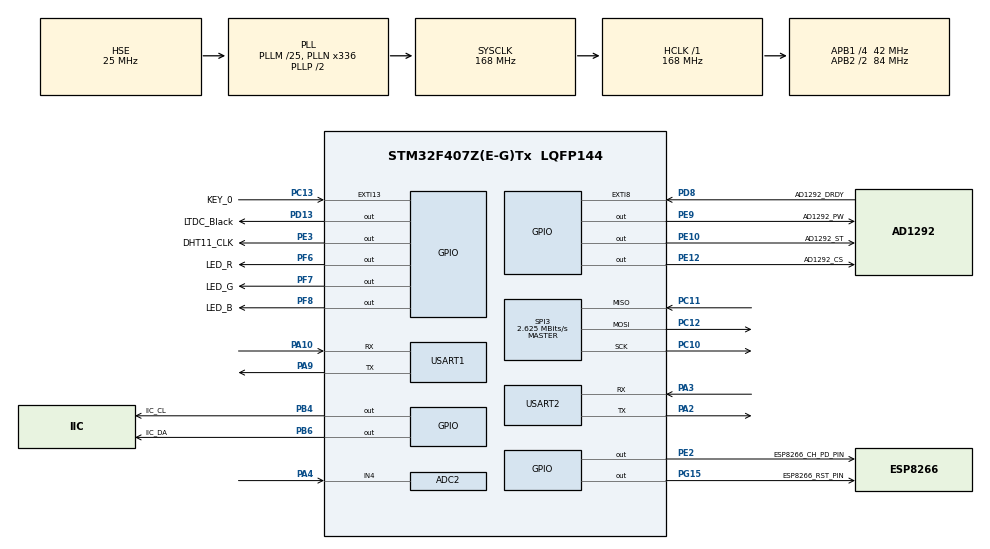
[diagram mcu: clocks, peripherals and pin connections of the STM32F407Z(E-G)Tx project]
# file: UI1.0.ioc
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ADC2.Channel-0\#ChannelRegularConversion=ADC_CHANNEL_4
ADC2.Rank-0\#ChannelRegularConversion=1
Mcu.Family=STM32F4
Mcu.Name=STM32F407Z(E-G)Tx
Mcu.Package=LQFP144
NVIC.ADC_IRQn=true\:0\:0\:false\:false\:true\:true\:true\:true
NVIC.EXTI15_10_IRQn=true\:0\:0\:false\:false\:true\:true\:true\:true
NVIC.EXTI9_5_IRQn=true\:0\:0\:false\:false\:true\:true\:true\:true
NVIC.PriorityGroup=NVIC_PRIORITYGROUP_4
NVIC.TIM2_IRQn=true\:0\:0\:false\:false\:true\:true\:true\:true
NVIC.TIM3_IRQn=true\:0\:0\:false\:false\:true\:true\:true\:true
NVIC.USART1_IRQn=true\:0\:0\:false\:false\:true\:true\:true\:true
NVIC.USART2_IRQn=true\:0\:0\:false\:false\:true\:true\:true\:true
PA10.Mode=Asynchronous
PA10.Signal=USART1_RX
PA13.Mode=Serial_Wire
PA13.Signal=SYS_JTMS-SWDIO
PA14.Mode=Serial_Wire
PA14.Signal=SYS_JTCK-SWCLK
PA2.Mode=Asynchronous
PA2.Signal=USART2_TX
PA3.Mode=Asynchronous
PA3.Signal=USART2_RX
PA4.Signal=ADCx_IN4
PA9.Mode=Asynchronous
PA9.Signal=USART1_TX
PB4.GPIO_Label=IIC_CL
PB4.GPIO_PuPd=GPIO_PULLUP
PB4.GPIO_Speed=GPIO_SPEED_FREQ_VERY_HIGH
PB4.PinState=GPIO_PIN_SET
PB4.Signal=GPIO_Output
PB6.GPIO_Label=IIC_DA
PB6.GPIO_PuPd=GPIO_PULLUP
PB6.GPIO_Speed=GPIO_SPEED_FREQ_VERY_HIGH
PB6.PinState=GPIO_PIN_SET
PB6.Signal=GPIO_Output
PC10.GPIO_PuPd=GPIO_PULLUP
PC10.GPIO_Speed=GPIO_SPEED_FREQ_HIGH
PC10.Mode=Full_Duplex_Master
PC10.Signal=SPI3_SCK
PC11.GPIO_PuPd=GPIO_PULLUP
PC11.GPIO_Speed=GPIO_SPEED_FREQ_HIGH
PC11.Mode=Full_Duplex_Master
PC11.Signal=SPI3_MISO
PC12.GPIO_PuPd=GPIO_PULLUP
PC12.GPIO_Speed=GPIO_SPEED_FREQ_HIGH
PC12.Mode=Full_Duplex_Master
PC12.Signal=SPI3_MOSI
PC13-ANTI_TAMP.GPIO_Label=KEY_0
PC13-ANTI_TAMP.GPIO_PuPd=GPIO_PULLUP
PC13-ANTI_TAMP.Signal=GPXTI13
PD13.GPIO_Label=LTDC_Black
PD13.GPIO_PuPd=GPIO_PULLUP
PD13.Signal=GPIO_Output
PD8.GPIO_Label=AD1292_DRDY
PD8.GPIO_PuPd=GPIO_PULLUP
PD8.Signal=GPXTI8
PE10.GPIO_Label=AD1292_ST
PE10.GPIO_PuPd=GPIO_PULLUP
PE10.GPIO_Speed=GPIO_SPEED_FREQ_HIGH
PE10.Signal=GPIO_Output
PE12.GPIO_Label=AD1292_CS
PE12.GPIO_PuPd=GPIO_PULLUP
PE12.GPIO_Speed=GPIO_SPEED_FREQ_HIGH
PE12.PinState=GPIO_PIN_SET
PE12.Signal=GPIO_Output
PE2.GPIO_Label=ESP8266_CH_PD_PIN
PE2.Signal=GPIO_Output
PE3.GPIO_Label=DHT11_CLK
PE3.GPIO_PuPd=GPIO_PULLUP
PE3.GPIO_Speed=GPIO_SPEED_FREQ_HIGH
PE3.PinState=GPIO_PIN_SET
PE3.Signal=GPIO_Output
PE9.GPIO_Label=AD1292_PW
PE9.GPIO_PuPd=GPIO_PULLUP
PE9.GPIO_Speed=GPIO_SPEED_FREQ_HIGH
PE9.PinState=GPIO_PIN_SET
PE9.Signal=GPIO_Output
PF6.GPIO_Label=LED_R
PF6.GPIO_PuPd=GPIO_PULLUP
PF6.PinState=GPIO_PIN_SET
PF6.Signal=GPIO_Output
PF7.GPIO_Label=LED_G
PF7.GPIO_PuPd=GPIO_PULLUP
PF7.PinState=GPIO_PIN_SET
PF7.Signal=GPIO_Output
PF8.GPIO_Label=LED_B
PF8.GPIO_PuPd=GPIO_PULLUP
PF8.PinState=GPIO_PIN_SET
PF8.Signal=GPIO_Output
PG15.GPIO_Label=ESP8266_RST_PIN
PG15.Signal=GPIO_Output
PH0-OSC_IN.Mode=HSE-External-Oscillator
PH0-OSC_IN.Signal=RCC_OSC_IN
PH1-OSC_OUT.Mode=HSE-External-Oscillator
PH1-OSC_OUT.Signal=RCC_OSC_OUT
ProjectManager.HeapSize=0x200
ProjectManager.StackSize=0x400
ProjectManager.TargetToolchain=MDK-ARM V5.32
RCC.48MHZClocksFreq_Value=84000000
RCC.AHBFreq_Value=168000000
RCC.APB1CLKDivider=RCC_HCLK_DIV4
RCC.APB1Freq_Value=42000000
RCC.APB1TimFreq_Value=84000000
RCC.APB2CLKDivider=RCC_HCLK_DIV2
RCC.APB2Freq_Value=84000000
RCC.APB2TimFreq_Value=168000000
RCC.CortexFreq_Value=168000000
RCC.HCLKFreq_Value=168000000
RCC.HSE_VALUE=25000000
RCC.HSI_VALUE=16000000
RCC.LSE_VALUE=32768
RCC.PLLM=25
RCC.PLLN=336
RCC.PLLSourceVirtual=RCC_PLLSOURCE_HSE
RCC.SYSCLKFreq_VALUE=168000000
RCC.SYSCLKSource=RCC_SYSCLKSOURCE_PLLCLK
RCC.VCOOutputFreq_Value=336000000
SH.ADCx_IN4.0=ADC2_IN4,IN4
SPI3.BaudRatePrescaler=SPI_BAUDRATEPRESCALER_16
SPI3.CLKPhase=SPI_PHASE_2EDGE
SPI3.CLKPolarity=SPI_POLARITY_LOW
SPI3.CalculateBaudRate=2.625 MBits/s
SPI3.Direction=SPI_DIRECTION_2LINES
SPI3.Mode=SPI_MODE_MASTER
SPI3.VirtualType=VM_MASTER
TIM2.Period=10-1
TIM2.Prescaler=9000-1
TIM3.Period=5000-1
TIM3.Prescaler=9000-1
USART1.VirtualMode=VM_ASYNC
USART2.VirtualMode=VM_ASYNC
VP_TIM2_VS_ClockSourceINT.Mode=Internal
VP_TIM3_VS_ClockSourceINT.Mode=Internal
board=custom

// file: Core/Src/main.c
/* USER CODE BEGIN Header */
/**
  ******************************************************************************
  * @file           : main.c
  * @brief          : Main program body
  ******************************************************************************
  * @attention
  *
  * Copyright (c) 2022 STMicroelectronics.
  * All rights reserved.
  *
  * This software is licensed under terms that can be found in the LICENSE file
  * in the root directory of this software component.
  * If no LICENSE file comes with this software, it is provided AS-IS.
  *
  ******************************************************************************
  */
/* USER CODE END Header */
#include "main.h"
#include "adc.h"
#include "spi.h"
#include "tim.h"
#include "usart.h"
#include "gpio.h"

/* USER CODE BEGIN Includes */
#include "callback.h"
#include "ads1292.h"
#include "bsp_dht11.h"
/* USER CODE END Includes */

void SystemClock_Config(void);

/* USER CODE BEGIN 0 */
DHT11_Data_TypeDef DHT11_Data;

/* USER CODE END 0 */

int main(void)
{
  /* USER CODE BEGIN 1 */
/*串口*/
	uint8_t len;					//串口接收数据长度
 /*ADC采集*/
  u16 adcx;
	u16 Value;
  /* USER CODE END 1 */

  /* MCU Configuration--------------------------------------------------------*/

  /* Reset of all peripherals, Initializes the Flash interface and the Systick. */
  HAL_Init();

  /* Configure the system clock */
  SystemClock_Config();

  /* Initialize all configured peripherals */
  MX_GPIO_Init();
  MX_ADC2_Init();
  MX_SPI3_Init();
  MX_TIM2_Init();
  MX_TIM3_Init();
  MX_USART1_UART_Init();
  MX_USART2_UART_Init();
  /* USER CODE BEGIN 2 */

	delay_init(180);                //初始化延时函数

	HAL_UART_Receive_IT(&huart1, (u8 *)USART1_RxBuffer, RXBUFFERSIZE);//该函数会开启接收中断
	HAL_UART_Receive_IT(&huart2,usart2_rxone,1);			//打开USART1中断，接收订阅消息
	HAL_TIM_Base_Start_IT(&htim2);
//	HAL_TIM_Base_Start_IT(&htim3);							  	      //使能定时器3和定时器3更新中断：TIM_IT_UPDATE，，周期为500ms
//	SDRAM_Initialization_Sequence(&hsdram2,&command);				  //配置SDRAM
	__HAL_SPI_ENABLE(&hspi3);                                // 使能SPI5
  /* USER CODE END 2 */

  /* Infinite loop */
  /* USER CODE BEGIN WHILE */
  while (1)
  {
    /* DHT11初始化 */
	DHT11_GPIO_Config();
//    ADS1292_PowerOnInit();						 // ADS1292上电初始化
//    while(Set_ADS1292_Collect(0))//0 正常采集  //1 1mV1Hz内部侧试信号 //2 内部短接噪声测试
//    {
//        printf("1292寄存器设置失败\r\n");
//        delay_ms(500);
//        LED1=!LED1;
//    }

    //Value = Get_Adc();

//    while (1)
//    {

//    /*串口*/
//    if(USART1_RX_STA&0x8000)
//    {
//      len=USART1_RX_STA&0x3fff;		//得到此次接收到的数据长度
//      printf("\r\n您发送的消息为:\r\n");
//      HAL_UART_Transmit(&huart1,(uint8_t*)USART1_RX_BUF,len,1000);	//发送接收到的数据
//      while(__HAL_UART_GET_FLAG(&huart1,UART_FLAG_TC)!=SET);			//等待发送结束
//      printf("\r\n\r\n");//插入换行
//      USART1_RX_STA=0;
//    }
//    /*心率*/
//    if(ads1292_recive_flag)
//    {
//    //			arm_fir(&Input_data2,&Output_data2);

//    //			ECG_UI_refresh(&ecg_win,ecg_x_value++,Output_data2);	//刷新示波器串口（以屏幕像素点为单位）

//    //			printf("B: %8d,%8d,%d\r\n",(u32)Input_data2,(u32)Output_data2,heart_rate);

//        ads1292_recive_flag=0;
//    }
//    	if(key==KEY0_PRES)//KEY0按下
//      {
//        LED1=!LED1;
//        key=0;
//      }
//  }
      /*调用DHT11_Read_TempAndHumidity读取温湿度，若成功则输出该信息*/
		if( Read_DHT11(&DHT11_Data)== 1)
		{
			printf("\r\n读取DHT11成功!\r\n\r\n湿度为%d.%d ％RH ，温度为 %d.%d℃ \r\n",\
			DHT11_Data.humi_int,DHT11_Data.humi_deci,DHT11_Data.temp_int,DHT11_Data.temp_deci);
		}
		else
		{
		  printf("Read DHT11 ERROR!\r\n");
		}
        delay_ms(2000);
    /* USER CODE END WHILE */

  }
}

void SystemClock_Config(void)
{
  RCC_OscInitTypeDef RCC_OscInitStruct = {0};
  RCC_ClkInitTypeDef RCC_ClkInitStruct = {0};

  /** Configure the main internal regulator output voltage
  */
  __HAL_RCC_PWR_CLK_ENABLE();
  __HAL_PWR_VOLTAGESCALING_CONFIG(PWR_REGULATOR_VOLTAGE_SCALE1);

  /** Initializes the RCC Oscillators according to the specified parameters
  * in the RCC_OscInitTypeDef structure.
  */
  RCC_OscInitStruct.OscillatorType = RCC_OSCILLATORTYPE_HSE;
  RCC_OscInitStruct.HSEState = RCC_HSE_ON;
  RCC_OscInitStruct.PLL.PLLState = RCC_PLL_ON;
  RCC_OscInitStruct.PLL.PLLSource = RCC_PLLSOURCE_HSE;
  RCC_OscInitStruct.PLL.PLLM = 25;
  RCC_OscInitStruct.PLL.PLLN = 336;
  RCC_OscInitStruct.PLL.PLLP = RCC_PLLP_DIV2;
  RCC_OscInitStruct.PLL.PLLQ = 4;
  if (HAL_RCC_OscConfig(&RCC_OscInitStruct) != HAL_OK)
  {
    Error_Handler();
  }

  /** Initializes the CPU, AHB and APB buses clocks
  */
  RCC_ClkInitStruct.ClockType = RCC_CLOCKTYPE_HCLK|RCC_CLOCKTYPE_SYSCLK
                              |RCC_CLOCKTYPE_PCLK1|RCC_CLOCKTYPE_PCLK2;
  RCC_ClkInitStruct.SYSCLKSource = RCC_SYSCLKSOURCE_PLLCLK;
  RCC_ClkInitStruct.AHBCLKDivider = RCC_SYSCLK_DIV1;
  RCC_ClkInitStruct.APB1CLKDivider = RCC_HCLK_DIV4;
  RCC_ClkInitStruct.APB2CLKDivider = RCC_HCLK_DIV2;

  if (HAL_RCC_ClockConfig(&RCC_ClkInitStruct, FLASH_LATENCY_5) != HAL_OK)
  {
    Error_Handler();
  }
}

void Error_Handler(void)
{
  __disable_irq();
  while (1)
  {
  }
}
